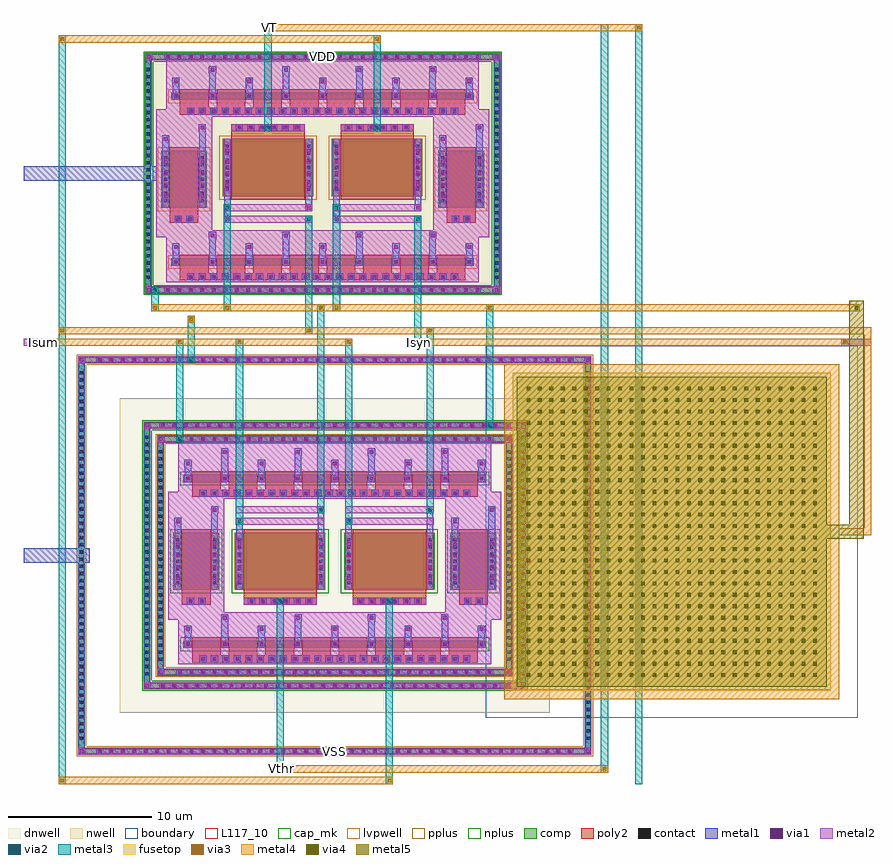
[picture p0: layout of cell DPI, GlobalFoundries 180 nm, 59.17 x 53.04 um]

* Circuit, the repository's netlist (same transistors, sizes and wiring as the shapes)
* Extracted by KLayout with GF180MCU LVS runset on : 22/11/2026 02:39

.SUBCKT DPI
M$1 VDD VDD VDD VDD pfet_03v3 L=2U W=0.5U AS=0.3P AD=0.14P PS=2.2U PD=1.06U
M$2 VDD VDD VDD VDD pfet_03v3 L=2U W=0.5U AS=0.14P AD=0.14P PS=1.06U PD=1.06U
M$3 VDD VDD VDD VDD pfet_03v3 L=2U W=0.5U AS=0.14P AD=0.14P PS=1.06U PD=1.06U
M$4 VDD VDD VDD VDD pfet_03v3 L=2U W=0.5U AS=0.14P AD=0.14P PS=1.06U PD=1.06U
M$5 VDD VDD VDD VDD pfet_03v3 L=2U W=0.5U AS=0.14P AD=0.14P PS=1.06U PD=1.06U
M$6 VDD VDD VDD VDD pfet_03v3 L=2U W=0.5U AS=0.14P AD=0.14P PS=1.06U PD=1.06U
M$7 VDD VDD VDD VDD pfet_03v3 L=2U W=0.5U AS=0.14P AD=0.14P PS=1.06U PD=1.06U
M$8 VDD VDD VDD VDD pfet_03v3 L=2U W=0.5U AS=0.14P AD=0.3P PS=1.06U PD=2.2U
M$9 VDD \$172 Isyn VDD pfet_03v3 L=5.12U W=4U AS=2.4P AD=2.4P PS=9.2U PD=9.2U
M$10 VDD VDD VDD VDD pfet_03v3 L=2U W=0.5U AS=0.3P AD=0.14P PS=2.2U PD=1.06U
M$11 VDD VDD VDD VDD pfet_03v3 L=2U W=0.5U AS=0.14P AD=0.14P PS=1.06U PD=1.06U
M$12 VDD VDD VDD VDD pfet_03v3 L=2U W=0.5U AS=0.14P AD=0.14P PS=1.06U PD=1.06U
M$13 VDD VDD VDD VDD pfet_03v3 L=2U W=0.5U AS=0.14P AD=0.14P PS=1.06U PD=1.06U
M$14 VDD VDD VDD VDD pfet_03v3 L=2U W=0.5U AS=0.14P AD=0.14P PS=1.06U PD=1.06U
M$15 VDD VDD VDD VDD pfet_03v3 L=2U W=0.5U AS=0.14P AD=0.14P PS=1.06U PD=1.06U
M$16 VDD VDD VDD VDD pfet_03v3 L=2U W=0.5U AS=0.14P AD=0.14P PS=1.06U PD=1.06U
M$17 VDD VDD VDD VDD pfet_03v3 L=2U W=0.5U AS=0.14P AD=0.3P PS=1.06U PD=2.2U
M$18 VDD VDD VDD VDD pfet_03v3 L=2U W=4U AS=2.4P AD=2.4P PS=9.2U PD=9.2U
M$19 VDD VT \$172 VDD pfet_03v3 L=5.12U W=4U AS=2.4P AD=2.4P PS=9.2U PD=9.2U
M$20 VDD VDD VDD VDD pfet_03v3 L=2U W=4U AS=2.4P AD=2.4P PS=9.2U PD=9.2U
M$21 Isum Isum Isum Isum nfet_03v3 L=2U W=4U AS=2.4P AD=2.4P PS=9.2U PD=9.2U
M$22 \$172 \$172 Isum Isum nfet_03v3 L=5.12U W=4U AS=2.4P AD=2.4P PS=9.2U
+ PD=9.2U
M$23 Isum Isum Isum Isum nfet_03v3 L=2U W=0.5U AS=0.3P AD=0.14P PS=2.2U PD=1.06U
M$24 Isum Isum Isum Isum nfet_03v3 L=2U W=0.5U AS=0.14P AD=0.14P PS=1.06U
+ PD=1.06U
M$25 Isum Isum Isum Isum nfet_03v3 L=2U W=0.5U AS=0.14P AD=0.14P PS=1.06U
+ PD=1.06U
M$26 Isum Isum Isum Isum nfet_03v3 L=2U W=0.5U AS=0.14P AD=0.14P PS=1.06U
+ PD=1.06U
M$27 Isum Isum Isum Isum nfet_03v3 L=2U W=0.5U AS=0.14P AD=0.14P PS=1.06U
+ PD=1.06U
M$28 Isum Isum Isum Isum nfet_03v3 L=2U W=0.5U AS=0.14P AD=0.14P PS=1.06U
+ PD=1.06U
M$29 Isum Isum Isum Isum nfet_03v3 L=2U W=0.5U AS=0.14P AD=0.14P PS=1.06U
+ PD=1.06U
M$30 Isum Isum Isum Isum nfet_03v3 L=2U W=0.5U AS=0.14P AD=0.3P PS=1.06U PD=2.2U
M$31 Isum Isum Isum Isum nfet_03v3 L=2U W=0.5U AS=0.3P AD=0.14P PS=2.2U PD=1.06U
M$32 Isum Isum Isum Isum nfet_03v3 L=2U W=0.5U AS=0.14P AD=0.14P PS=1.06U
+ PD=1.06U
M$33 Isum Isum Isum Isum nfet_03v3 L=2U W=0.5U AS=0.14P AD=0.14P PS=1.06U
+ PD=1.06U
M$34 Isum Isum Isum Isum nfet_03v3 L=2U W=0.5U AS=0.14P AD=0.14P PS=1.06U
+ PD=1.06U
M$35 Isum Isum Isum Isum nfet_03v3 L=2U W=0.5U AS=0.14P AD=0.14P PS=1.06U
+ PD=1.06U
M$36 Isum Isum Isum Isum nfet_03v3 L=2U W=0.5U AS=0.14P AD=0.14P PS=1.06U
+ PD=1.06U
M$37 Isum Isum Isum Isum nfet_03v3 L=2U W=0.5U AS=0.14P AD=0.14P PS=1.06U
+ PD=1.06U
M$38 Isum Isum Isum Isum nfet_03v3 L=2U W=0.5U AS=0.14P AD=0.3P PS=1.06U PD=2.2U
M$39 VDD Vthr Isum Isum nfet_03v3 L=5.12U W=4U AS=2.4P AD=2.4P PS=9.2U PD=9.2U
M$40 Isum Isum Isum Isum nfet_03v3 L=2U W=4U AS=2.4P AD=2.4P PS=9.2U PD=9.2U
C$41 \$172 VDD 9.839048e-13 cap_mim_2f0fF A=491.9524P P=88.72U
.ENDS DPI

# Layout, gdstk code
import gdstk
lib = gdstk.Library(unit=1e-6, precision=5e-09)
def R(c, l, rs):  # rectangles x0, y0, x1, y1
    for r in rs: c.add(gdstk.rectangle(r[:2], r[2:], *l))
def A(c, l, x, y, w, h, nx, ny, dx, dy):  # array of equal rectangles
    R(c, l, [(x+i*dx, y+j*dy, x+i*dx+w, y+j*dy+h) for i in range(nx) for j in range(ny)])
def P(c, l, *ps):  # polygons
    for p in ps: c.add(gdstk.Polygon(p, *l))
boundary = (0, 0)
dnwell = (12, 0)
nwell = (21, 0)
comp = (22, 0)
poly2 = (30, 0)
pplus = (31, 0)
nplus = (32, 0)
contact = (33, 0)
metal1 = (34, 0)
via1 = (35, 0)
metal2 = (36, 0)
via2 = (38, 0)
via3 = (40, 0)
via4 = (41, 0)
metal3 = (42, 0)
metal4 = (46, 0)
fusetop = (75, 0)
metal5 = (81, 0)
cap_mk = (117, 5)
L117_10 = (117, 10)
lvpwell = (204, 0)

dpi = lib.new_cell('DPI')
R(dpi, boundary, [(17.84,-11.335,43.82,14.645)])
R(dpi, dnwell, [(-7.68,-10.975,22.32,10.975)])
R(dpi, nwell, [(-5.99,18.235,18.93,35.105), (-4.44,19.075,17.38,22.705), (-5.15,23.105,-1.25,30.235), (-0.85,23.105,6.17,30.235), (6.77,23.105,13.79,30.235), (14.19,23.105,18.09,30.235), (-4.44,30.635,17.38,34.265)])
A(dpi, comp, -9.26, -13.835, 0.36, 0.36, 42, 2, 0.8, 27.31)
A(dpi, comp, -10.54, -12.93, 0.36, 0.36, 1, 52, 0, 0.5)
A(dpi, comp, 24.82, -12.93, 0.36, 0.36, 1, 52, 0, 0.5)
A(dpi, comp, -4.86, -9.265, 0.36, 0.36, 31, 2, 0.8, 18.17)
A(dpi, comp, -5.975, -8.43, 0.36, 0.36, 1, 34, 0, 0.5)
A(dpi, comp, 20.255, -8.43, 0.36, 0.36, 1, 34, 0, 0.5)
A(dpi, comp, -3.66, -8.315, 0.36, 0.36, 28, 2, 0.8, 16.27)
A(dpi, comp, -5.02, -7.43, 0.36, 0.36, 1, 30, 0, 0.5)
A(dpi, comp, 19.3, -7.43, 0.36, 0.36, 1, 30, 0, 0.5)
A(dpi, comp, -4.51, 18.355, 0.36, 0.36, 28, 2, 0.8, 16.27)
A(dpi, comp, -5.87, 19.24, 0.36, 0.36, 1, 30, 0, 0.5)
A(dpi, comp, 18.45, 19.24, 0.36, 0.36, 1, 30, 0, 0.5)
R(dpi, comp, [(-9.26,-13.835,23.9,-13.475), (-10.54,-12.93,-10.18,12.93), (24.82,-12.93,25.18,12.93), (-4.86,-9.265,19.5,-8.905), (-5.975,-8.43,-5.615,8.43), (20.255,-8.43,20.615,8.43), (-3.66,-8.315,18.3,-7.955), (-5.02,-7.43,-4.66,7.43), (19.3,-7.43,19.66,7.43), (-3.24,-6.435,17.88,-5.935), (-3.95,-2.405,-0.75,1.595), (0.35,-2.405,6.67,1.595), (7.97,-2.405,14.29,1.595), (15.39,-2.405,18.59,1.595), (-3.24,5.125,17.88,5.625), (-3.66,7.955,18.3,8.315), (-4.86,8.905,19.5,9.265), (-9.26,13.475,23.9,13.835), (-4.51,18.355,17.45,18.715), (-5.87,19.24,-5.51,34.1), (18.45,19.24,18.81,34.1), (-4.09,20.235,17.03,20.735), (-4.8,24.265,-1.6,28.265), (14.54,24.265,17.74,28.265), (-0.5,25.075,5.82,29.075), (7.12,25.075,13.44,29.075), (-4.09,31.795,17.03,32.295), (-4.51,34.625,17.45,34.985)])
P(dpi, comp, [(18.81,34.985),(-5.87,34.985),(-5.87,18.715),(-5.51,18.715),(-5.51,34.625),(18.45,34.625),(18.45,18.715),(-5.51,18.715),(-5.87,18.715),(-5.87,18.355),(18.81,18.355)],
  [(19.66,8.315),(-5.02,8.315),(-5.02,-7.955),(-4.66,-7.955),(-4.66,7.955),(19.3,7.955),(19.3,-7.955),(-4.66,-7.955),(-5.02,-7.955),(-5.02,-8.315),(19.66,-8.315)],
  [(20.615,9.265),(-5.975,9.265),(-5.975,-8.905),(-5.615,-8.905),(-5.615,8.905),(20.255,8.905),(20.255,-8.905),(-5.615,-8.905),(-5.975,-8.905),(-5.975,-9.265),(20.615,-9.265)],
  [(25.18,13.835),(-10.54,13.835),(-10.54,-13.475),(-10.18,-13.475),(-10.18,13.475),(24.82,13.475),(24.82,-13.475),(-10.18,-13.475),(-10.54,-13.475),(-10.54,-13.835),(25.18,-13.835)])
A(dpi, poly2, -2.06, -7.405, 0.36, 0.36, 24, 2, 0.8, 11.56)
A(dpi, poly2, -2.64, -6.975, 2, 0.3, 8, 2, 2.56, 11.56)
A(dpi, poly2, -2.64, -6.675, 2, 0.98, 8, 2, 2.56, 11.56)
A(dpi, poly2, 1.33, -3.375, 0.36, 0.36, 6, 1, 0.8, 0)
A(dpi, poly2, 8.95, -3.375, 0.36, 0.36, 6, 1, 0.8, 0)
A(dpi, poly2, -2.91, 19.265, 0.36, 0.36, 24, 2, 0.8, 11.56)
A(dpi, poly2, -3.49, 19.695, 2, 0.3, 8, 2, 2.56, 11.56)
A(dpi, poly2, -3.49, 19.995, 2, 0.98, 8, 2, 2.56, 11.56)
A(dpi, poly2, 0.48, 29.685, 0.36, 0.36, 6, 1, 0.8, 0)
A(dpi, poly2, 8.1, 29.685, 0.36, 0.36, 6, 1, 0.8, 0)
R(dpi, poly2, [(-2.64,-7.475,17.28,-6.975), (-3.35,-3.445,-1.35,-2.945), (0.95,-3.445,6.07,-2.945), (8.57,-3.445,13.69,-2.945), (15.99,-3.445,17.99,-2.945), (-2.93,-3.375,-2.57,-3.015), (-2.13,-3.375,-1.77,-3.015), (16.41,-3.375,16.77,-3.015), (17.21,-3.375,17.57,-3.015), (-3.35,-2.945,-1.35,-2.645), (0.95,-2.945,6.07,-2.645), (8.57,-2.945,13.69,-2.645), (15.99,-2.945,17.99,-2.645), (-3.35,-2.645,-1.35,1.835), (0.95,-2.645,6.07,1.835), (8.57,-2.645,13.69,1.835), (15.99,-2.645,17.99,1.835), (-2.64,4.085,17.28,4.585), (-3.49,19.195,16.43,19.695), (-4.2,23.225,-2.2,23.725), (15.14,23.225,17.14,23.725), (-3.78,23.295,-3.42,23.655), (-2.98,23.295,-2.62,23.655), (15.56,23.295,15.92,23.655), (16.36,23.295,16.72,23.655), (-4.2,23.725,-2.2,24.025), (15.14,23.725,17.14,24.025), (-4.2,24.025,-2.2,28.505), (15.14,24.025,17.14,28.505), (0.1,24.835,5.22,29.315), (7.72,24.835,12.84,29.315), (0.1,29.315,5.22,29.615), (7.72,29.315,12.84,29.615), (0.1,29.615,5.22,30.115), (7.72,29.615,12.84,30.115), (-3.49,30.755,16.43,31.255)])
R(dpi, pplus, [(-4.32,20.005,17.26,20.965), (-5.03,24.035,-1.37,28.495), (14.31,24.035,17.97,28.495), (-0.73,24.845,6.05,29.305), (6.89,24.845,13.67,29.305), (-4.32,31.565,17.26,32.525)])
P(dpi, pplus, [(19.82,8.475),(-5.18,8.475),(-5.18,-7.795),(-4.5,-7.795),(-4.5,7.795),(19.14,7.795),(19.14,-7.795),(-4.5,-7.795),(-5.18,-7.795),(-5.18,-8.475),(19.82,-8.475)],
  [(25.34,13.995),(-10.7,13.995),(-10.7,-13.315),(-10.02,-13.315),(-10.02,13.315),(24.66,13.315),(24.66,-13.315),(-10.02,-13.315),(-10.7,-13.315),(-10.7,-13.995),(25.34,-13.995)])
R(dpi, nplus, [(-3.47,-6.665,18.11,-5.705), (-4.18,-2.635,-0.52,1.825), (0.12,-2.635,6.9,1.825), (7.74,-2.635,14.52,1.825), (15.16,-2.635,18.82,1.825), (-3.47,4.895,18.11,5.855)])
P(dpi, nplus, [(18.97,35.145),(-6.03,35.145),(-6.03,18.875),(-5.35,18.875),(-5.35,34.465),(18.29,34.465),(18.29,18.875),(-5.35,18.875),(-6.03,18.875),(-6.03,18.195),(18.97,18.195)],
  [(20.775,9.425),(-6.135,9.425),(-6.135,-8.745),(-5.455,-8.745),(-5.455,8.745),(20.095,8.745),(20.095,-8.745),(-5.455,-8.745),(-6.135,-8.745),(-6.135,-9.425),(20.775,-9.425)])
A(dpi, contact, -9.19, -13.765, 0.22, 0.22, 42, 2, 0.8, 27.31)
A(dpi, contact, -10.47, -12.86, 0.22, 0.22, 1, 52, 0, 0.5)
A(dpi, contact, 24.89, -12.86, 0.22, 0.22, 1, 52, 0, 0.5)
A(dpi, contact, -4.79, -9.195, 0.22, 0.22, 31, 2, 0.8, 18.17)
A(dpi, contact, -5.905, -8.36, 0.22, 0.22, 1, 34, 0, 0.5)
A(dpi, contact, 20.325, -8.36, 0.22, 0.22, 1, 34, 0, 0.5)
A(dpi, contact, -3.59, -8.245, 0.22, 0.22, 28, 2, 0.8, 16.27)
A(dpi, contact, -4.95, -7.36, 0.22, 0.22, 1, 30, 0, 0.5)
A(dpi, contact, 19.37, -7.36, 0.22, 0.22, 1, 30, 0, 0.5)
A(dpi, contact, -1.99, -7.335, 0.22, 0.22, 24, 2, 0.8, 11.56)
A(dpi, contact, -3.03, -6.295, 0.22, 0.22, 9, 2, 2.56, 11.56)
A(dpi, contact, 1.4, -3.305, 0.22, 0.22, 6, 1, 0.8, 0)
A(dpi, contact, 9.02, -3.305, 0.22, 0.22, 6, 1, 0.8, 0)
A(dpi, contact, -3.74, -2.015, 0.22, 0.22, 1, 7, 0, 0.5)
A(dpi, contact, -1.18, -2.015, 0.22, 0.22, 1, 7, 0, 0.5)
A(dpi, contact, 0.56, -2.015, 0.22, 0.22, 1, 7, 0, 0.5)
A(dpi, contact, 6.24, -2.015, 0.22, 0.22, 1, 7, 0, 0.5)
A(dpi, contact, 8.18, -2.015, 0.22, 0.22, 1, 7, 0, 0.5)
A(dpi, contact, 13.86, -2.015, 0.22, 0.22, 1, 7, 0, 0.5)
A(dpi, contact, 15.6, -2.015, 0.22, 0.22, 1, 7, 0, 0.5)
A(dpi, contact, 18.16, -2.015, 0.22, 0.22, 1, 7, 0, 0.5)
A(dpi, contact, -4.44, 18.425, 0.22, 0.22, 28, 2, 0.8, 16.27)
A(dpi, contact, -5.8, 19.31, 0.22, 0.22, 1, 30, 0, 0.5)
A(dpi, contact, 18.52, 19.31, 0.22, 0.22, 1, 30, 0, 0.5)
A(dpi, contact, -2.84, 19.335, 0.22, 0.22, 24, 2, 0.8, 11.56)
A(dpi, contact, -3.88, 20.375, 0.22, 0.22, 9, 2, 2.56, 11.56)
A(dpi, contact, -4.59, 24.655, 0.22, 0.22, 1, 7, 0, 0.5)
A(dpi, contact, -2.03, 24.655, 0.22, 0.22, 1, 7, 0, 0.5)
A(dpi, contact, 14.75, 24.655, 0.22, 0.22, 1, 7, 0, 0.5)
A(dpi, contact, 17.31, 24.655, 0.22, 0.22, 1, 7, 0, 0.5)
A(dpi, contact, -0.29, 25.465, 0.22, 0.22, 1, 7, 0, 0.5)
A(dpi, contact, 5.39, 25.465, 0.22, 0.22, 1, 7, 0, 0.5)
A(dpi, contact, 7.33, 25.465, 0.22, 0.22, 1, 7, 0, 0.5)
A(dpi, contact, 13.01, 25.465, 0.22, 0.22, 1, 7, 0, 0.5)
A(dpi, contact, 0.55, 29.755, 0.22, 0.22, 6, 1, 0.8, 0)
A(dpi, contact, 8.17, 29.755, 0.22, 0.22, 6, 1, 0.8, 0)
R(dpi, contact, [(-2.86,-3.305,-2.64,-3.085), (-2.06,-3.305,-1.84,-3.085), (16.48,-3.305,16.7,-3.085), (17.28,-3.305,17.5,-3.085), (-3.71,23.365,-3.49,23.585), (-2.91,23.365,-2.69,23.585), (15.63,23.365,15.85,23.585), (16.43,23.365,16.65,23.585)])
A(dpi, metal1, -9.33, -13.905, 0.5, 0.5, 42, 2, 0.8, 27.31)
A(dpi, metal1, -10.59, -12.98, 0.46, 0.46, 1, 52, 0, 0.5)
A(dpi, metal1, 24.77, -12.98, 0.46, 0.46, 1, 52, 0, 0.5)
A(dpi, metal1, -4.93, -9.335, 0.5, 0.5, 31, 2, 0.8, 18.17)
A(dpi, metal1, -6.025, -8.48, 0.46, 0.46, 1, 34, 0, 0.5)
A(dpi, metal1, 20.205, -8.48, 0.46, 0.46, 1, 34, 0, 0.5)
A(dpi, metal1, -3.73, -8.385, 0.5, 0.5, 28, 2, 0.8, 16.27)
A(dpi, metal1, -5.07, -7.48, 0.46, 0.46, 1, 30, 0, 0.5)
A(dpi, metal1, 19.25, -7.48, 0.46, 0.46, 1, 30, 0, 0.5)
A(dpi, metal1, -2.13, -7.475, 0.5, 0.5, 24, 2, 0.8, 11.56)
A(dpi, metal1, -3.15, -6.435, 0.46, 0.5, 9, 2, 2.56, 11.56)
A(dpi, metal1, -3.15, -6.415, 0.46, 0.46, 9, 2, 2.56, 11.56)
A(dpi, metal1, -3.15, -5.935, 0.46, 1.05, 5, 2, 5.12, 11.56)
A(dpi, metal1, -0.59, -5.935, 0.46, 1.85, 4, 2, 5.12, 11.56)
A(dpi, metal1, -3.17, -5.385, 0.5, 0.5, 5, 2, 5.12, 11.56)
A(dpi, metal1, -0.61, -4.585, 0.5, 0.5, 4, 2, 5.12, 11.56)
A(dpi, metal1, 1.26, -3.445, 0.5, 0.5, 6, 1, 0.8, 0)
A(dpi, metal1, 8.88, -3.445, 0.5, 0.5, 6, 1, 0.8, 0)
A(dpi, metal1, -3.86, -2.135, 0.46, 0.46, 1, 7, 0, 0.5)
A(dpi, metal1, -1.3, -2.135, 0.46, 0.46, 1, 7, 0, 0.5)
A(dpi, metal1, 0.44, -2.135, 0.46, 0.46, 1, 7, 0, 0.5)
A(dpi, metal1, 6.12, -2.135, 0.46, 0.46, 1, 7, 0, 0.5)
A(dpi, metal1, 8.06, -2.135, 0.46, 0.46, 1, 7, 0, 0.5)
A(dpi, metal1, 13.74, -2.135, 0.46, 0.46, 1, 7, 0, 0.5)
A(dpi, metal1, 15.48, -2.135, 0.46, 0.46, 1, 7, 0, 0.5)
A(dpi, metal1, 18.04, -2.135, 0.46, 0.46, 1, 7, 0, 0.5)
A(dpi, metal1, -3.88, -1.855, 0.5, 0.5, 1, 4, 0, 0.8)
A(dpi, metal1, -1.32, -1.855, 0.5, 0.5, 1, 4, 0, 0.8)
A(dpi, metal1, 0.42, -1.855, 0.5, 0.5, 1, 4, 0, 0.8)
A(dpi, metal1, 6.1, -1.855, 0.5, 0.5, 1, 4, 0, 0.8)
A(dpi, metal1, 8.04, -1.855, 0.5, 0.5, 1, 4, 0, 0.8)
A(dpi, metal1, 13.72, -1.855, 0.5, 0.5, 1, 4, 0, 0.8)
A(dpi, metal1, 15.46, -1.855, 0.5, 0.5, 1, 4, 0, 0.8)
A(dpi, metal1, 18.02, -1.855, 0.5, 0.5, 1, 4, 0, 0.8)
A(dpi, metal1, -4.58, 18.285, 0.5, 0.5, 28, 2, 0.8, 16.27)
A(dpi, metal1, -5.92, 19.19, 0.46, 0.46, 1, 30, 0, 0.5)
A(dpi, metal1, 18.4, 19.19, 0.46, 0.46, 1, 30, 0, 0.5)
A(dpi, metal1, -2.98, 19.195, 0.5, 0.5, 24, 2, 0.8, 11.56)
A(dpi, metal1, -4, 20.235, 0.46, 0.5, 9, 2, 2.56, 11.56)
A(dpi, metal1, -4, 20.255, 0.46, 0.46, 9, 2, 2.56, 11.56)
A(dpi, metal1, -4, 20.735, 0.46, 1.05, 5, 2, 5.12, 11.56)
A(dpi, metal1, -1.44, 20.735, 0.46, 1.85, 4, 2, 5.12, 11.56)
A(dpi, metal1, -4.02, 21.285, 0.5, 0.5, 5, 2, 5.12, 11.56)
A(dpi, metal1, -1.46, 22.085, 0.5, 0.5, 4, 2, 5.12, 11.56)
A(dpi, metal1, -4.71, 24.535, 0.46, 0.46, 1, 7, 0, 0.5)
A(dpi, metal1, -2.15, 24.535, 0.46, 0.46, 1, 7, 0, 0.5)
A(dpi, metal1, 14.63, 24.535, 0.46, 0.46, 1, 7, 0, 0.5)
A(dpi, metal1, 17.19, 24.535, 0.46, 0.46, 1, 7, 0, 0.5)
A(dpi, metal1, -4.73, 24.815, 0.5, 0.5, 1, 4, 0, 0.8)
A(dpi, metal1, -2.17, 24.815, 0.5, 0.5, 1, 4, 0, 0.8)
A(dpi, metal1, 14.61, 24.815, 0.5, 0.5, 1, 4, 0, 0.8)
A(dpi, metal1, 17.17, 24.815, 0.5, 0.5, 1, 4, 0, 0.8)
A(dpi, metal1, -0.41, 25.345, 0.46, 0.46, 1, 7, 0, 0.5)
A(dpi, metal1, 5.27, 25.345, 0.46, 0.46, 1, 7, 0, 0.5)
A(dpi, metal1, 7.21, 25.345, 0.46, 0.46, 1, 7, 0, 0.5)
A(dpi, metal1, 12.89, 25.345, 0.46, 0.46, 1, 7, 0, 0.5)
A(dpi, metal1, -0.43, 25.625, 0.5, 0.5, 1, 4, 0, 0.8)
A(dpi, metal1, 5.25, 25.625, 0.5, 0.5, 1, 4, 0, 0.8)
A(dpi, metal1, 7.19, 25.625, 0.5, 0.5, 1, 4, 0, 0.8)
A(dpi, metal1, 12.87, 25.625, 0.5, 0.5, 1, 4, 0, 0.8)
A(dpi, metal1, 0.41, 29.615, 0.5, 0.5, 6, 1, 0.8, 0)
A(dpi, metal1, 8.03, 29.615, 0.5, 0.5, 6, 1, 0.8, 0)
R(dpi, metal1, [(-10.59,-13.905,-10.09,-13.405), (-10.59,-13.905,-10.09,-13.405), (-10.59,-13.905,-10.13,-13.475), (-9.33,-13.905,23.97,-13.405), (24.73,-13.905,25.23,-13.405), (24.73,-13.905,25.23,-13.405), (24.77,-13.905,25.23,-13.475), (-10.59,-13.475,-10.13,13.475), (24.77,-13.475,25.23,13.475), (-6.025,-9.335,-5.525,-8.835), (-6.025,-9.335,-5.525,-8.835), (-6.025,-9.335,-5.565,-8.905), (-4.93,-9.335,19.57,-8.835), (20.165,-9.335,20.665,-8.835), (20.165,-9.335,20.665,-8.835), (20.205,-9.335,20.665,-8.905), (-6.025,-8.905,-5.565,8.905), (20.205,-8.905,20.665,8.905), (-5.07,-8.385,-4.57,-7.885), (-5.07,-8.385,-4.57,-7.885), (-5.07,-8.385,-4.61,-7.955), (-3.73,-8.385,18.37,-7.885), (19.21,-8.385,19.71,-7.885), (19.21,-8.385,19.71,-7.885), (19.25,-8.385,19.71,-7.955), (-5.07,-7.955,-4.61,7.955), (19.25,-7.955,19.71,7.955), (-3.17,-6.435,-2.67,-5.935), (-3.17,-6.435,-2.67,-5.935), (-0.61,-6.435,-0.11,-5.935), (-0.61,-6.435,-0.11,-5.935), (1.95,-6.435,2.45,-5.935), (1.95,-6.435,2.45,-5.935), (4.51,-6.435,5.01,-5.935), (4.51,-6.435,5.01,-5.935), (7.07,-6.435,7.57,-5.935), (7.07,-6.435,7.57,-5.935), (9.63,-6.435,10.13,-5.935), (9.63,-6.435,10.13,-5.935), (12.19,-6.435,12.69,-5.935), (12.19,-6.435,12.69,-5.935), (14.75,-6.435,15.25,-5.935), (14.75,-6.435,15.25,-5.935), (17.31,-6.435,17.81,-5.935), (17.31,-6.435,17.81,-5.935), (-3,-3.445,-2.5,-2.945), (-2.2,-3.445,-1.7,-2.945), (16.34,-3.445,16.84,-2.945), (17.14,-3.445,17.64,-2.945), (-3.86,-2.405,-3.4,1.595), (-1.3,-2.405,-0.84,1.595), (0.44,-2.405,0.9,1.595), (6.12,-2.405,6.58,1.595), (8.06,-2.405,8.52,1.595), (13.74,-2.405,14.2,1.595), (15.48,-2.405,15.94,1.595), (18.04,-2.405,18.5,1.595), (-3.88,-1.855,-3.38,1.045), (-1.32,-1.855,-0.82,1.045), (0.42,-1.855,0.92,1.045), (6.1,-1.855,6.6,1.045), (8.04,-1.855,8.54,1.045), (13.72,-1.855,14.22,1.045), (15.46,-1.855,15.96,1.045), (18.02,-1.855,18.52,1.045), (-14.4,-0.5,-9.79,0.5), (-3.86,1.595,-3.4,2.645), (-1.3,1.595,-0.84,3.445), (0.44,1.595,0.9,2.645), (6.12,1.595,6.58,3.445), (8.06,1.595,8.52,2.645), (13.74,1.595,14.2,3.445), (15.48,1.595,15.94,2.645), (18.04,1.595,18.5,3.445), (-3.88,2.145,-3.38,2.645), (0.42,2.145,0.92,2.645), (8.04,2.145,8.54,2.645), (15.46,2.145,15.96,2.645), (-1.32,2.945,-0.82,3.445), (6.1,2.945,6.6,3.445), (13.72,2.945,14.22,3.445), (18.02,2.945,18.52,3.445), (-3.17,5.125,-2.67,5.625), (-3.17,5.125,-2.67,5.625), (-0.61,5.125,-0.11,5.625), (-0.61,5.125,-0.11,5.625), (1.95,5.125,2.45,5.625), (1.95,5.125,2.45,5.625), (4.51,5.125,5.01,5.625), (4.51,5.125,5.01,5.625), (7.07,5.125,7.57,5.625), (7.07,5.125,7.57,5.625), (9.63,5.125,10.13,5.625), (9.63,5.125,10.13,5.625), (12.19,5.125,12.69,5.625), (12.19,5.125,12.69,5.625), (14.75,5.125,15.25,5.625), (14.75,5.125,15.25,5.625), (17.31,5.125,17.81,5.625), (17.31,5.125,17.81,5.625), (-5.07,7.885,-4.57,8.385), (-5.07,7.885,-4.57,8.385), (-3.73,7.885,18.37,8.385), (19.21,7.885,19.71,8.385), (19.21,7.885,19.71,8.385), (-5.07,7.955,-4.61,8.385), (19.25,7.955,19.71,8.385), (-6.025,8.835,-5.525,9.335), (-6.025,8.835,-5.525,9.335), (-4.93,8.835,19.57,9.335), (20.165,8.835,20.665,9.335), (20.165,8.835,20.665,9.335), (-6.025,8.905,-5.565,9.335), (20.205,8.905,20.665,9.335), (-10.59,13.405,-10.09,13.905), (-10.59,13.405,-10.09,13.905), (-9.33,13.405,23.97,13.905), (24.73,13.405,25.23,13.905), (24.73,13.405,25.23,13.905), (-10.59,13.475,-10.13,13.905), (24.77,13.475,25.23,13.905), (-5.92,18.285,-5.42,18.785), (-5.92,18.285,-5.42,18.785), (-5.92,18.285,-5.46,18.715), (-4.58,18.285,17.52,18.785), (18.36,18.285,18.86,18.785), (18.36,18.285,18.86,18.785), (18.4,18.285,18.86,18.715), (-5.92,18.715,-5.46,34.625), (18.4,18.715,18.86,34.625), (-4.02,20.235,-3.52,20.735), (-4.02,20.235,-3.52,20.735), (-1.46,20.235,-0.96,20.735), (-1.46,20.235,-0.96,20.735), (1.1,20.235,1.6,20.735), (1.1,20.235,1.6,20.735), (3.66,20.235,4.16,20.735), (3.66,20.235,4.16,20.735), (6.22,20.235,6.72,20.735), (6.22,20.235,6.72,20.735), (8.78,20.235,9.28,20.735), (8.78,20.235,9.28,20.735), (11.34,20.235,11.84,20.735), (11.34,20.235,11.84,20.735), (13.9,20.235,14.4,20.735), (13.9,20.235,14.4,20.735), (16.46,20.235,16.96,20.735), (16.46,20.235,16.96,20.735), (-3.85,23.225,-3.35,23.725), (-3.05,23.225,-2.55,23.725), (-0.43,23.225,0.07,23.725), (-0.41,23.225,0.05,25.075), (7.19,23.225,7.69,23.725), (7.21,23.225,7.67,25.075), (15.49,23.225,15.99,23.725), (16.29,23.225,16.79,23.725), (5.25,24.025,5.75,24.525), (5.27,24.025,5.73,25.075), (12.87,24.025,13.37,24.525), (12.89,24.025,13.35,25.075), (-4.71,24.265,-4.25,28.265), (-2.15,24.265,-1.69,28.265), (14.63,24.265,15.09,28.265), (17.19,24.265,17.65,28.265), (-4.73,24.815,-4.23,27.715), (-2.17,24.815,-1.67,27.715), (14.61,24.815,15.11,27.715), (17.17,24.815,17.67,27.715), (-0.41,25.075,0.05,29.075), (5.27,25.075,5.73,29.075), (7.21,25.075,7.67,29.075), (12.89,25.075,13.35,29.075), (-0.43,25.625,0.07,28.525), (5.25,25.625,5.75,28.525), (7.19,25.625,7.69,28.525), (12.87,25.625,13.37,28.525), (-14.4,26.17,-5.12,27.17), (-4.71,28.265,-4.25,29.315), (-2.15,28.265,-1.69,30.115), (14.63,28.265,15.09,29.315), (17.19,28.265,17.65,30.115), (-4.73,28.815,-4.23,29.315), (14.61,28.815,15.11,29.315), (-2.17,29.615,-1.67,30.115), (17.17,29.615,17.67,30.115), (-4.02,31.795,-3.52,32.295), (-4.02,31.795,-3.52,32.295), (-1.46,31.795,-0.96,32.295), (-1.46,31.795,-0.96,32.295), (1.1,31.795,1.6,32.295), (1.1,31.795,1.6,32.295), (3.66,31.795,4.16,32.295), (3.66,31.795,4.16,32.295), (6.22,31.795,6.72,32.295), (6.22,31.795,6.72,32.295), (8.78,31.795,9.28,32.295), (8.78,31.795,9.28,32.295), (11.34,31.795,11.84,32.295), (11.34,31.795,11.84,32.295), (13.9,31.795,14.4,32.295), (13.9,31.795,14.4,32.295), (16.46,31.795,16.96,32.295), (16.46,31.795,16.96,32.295), (-5.92,34.555,-5.42,35.055), (-5.92,34.555,-5.42,35.055), (-4.58,34.555,17.52,35.055), (18.36,34.555,18.86,35.055), (18.36,34.555,18.86,35.055), (-5.92,34.625,-5.46,35.055), (18.4,34.625,18.86,35.055)])
A(dpi, via1, -9.21, -13.785, 0.26, 0.26, 42, 2, 0.8, 27.31)
A(dpi, via1, -4.81, -9.215, 0.26, 0.26, 31, 2, 0.8, 18.17)
A(dpi, via1, -3.61, -8.265, 0.26, 0.26, 28, 2, 0.8, 16.27)
A(dpi, via1, -2.01, -7.355, 0.26, 0.26, 24, 2, 0.8, 11.56)
A(dpi, via1, -3.05, -6.315, 0.26, 0.26, 9, 2, 2.56, 11.56)
A(dpi, via1, -3.05, -5.265, 0.26, 0.26, 5, 2, 5.12, 11.56)
A(dpi, via1, -0.49, -4.465, 0.26, 0.26, 4, 2, 5.12, 11.56)
A(dpi, via1, 1.38, -3.325, 0.26, 0.26, 6, 1, 0.8, 0)
A(dpi, via1, 9, -3.325, 0.26, 0.26, 6, 1, 0.8, 0)
A(dpi, via1, -3.76, -1.735, 0.26, 0.26, 1, 4, 0, 0.8)
A(dpi, via1, -1.2, -1.735, 0.26, 0.26, 1, 4, 0, 0.8)
A(dpi, via1, 0.54, -1.735, 0.26, 0.26, 1, 4, 0, 0.8)
A(dpi, via1, 6.22, -1.735, 0.26, 0.26, 1, 4, 0, 0.8)
A(dpi, via1, 8.16, -1.735, 0.26, 0.26, 1, 4, 0, 0.8)
A(dpi, via1, 13.84, -1.735, 0.26, 0.26, 1, 4, 0, 0.8)
A(dpi, via1, 15.58, -1.735, 0.26, 0.26, 1, 4, 0, 0.8)
A(dpi, via1, 18.14, -1.735, 0.26, 0.26, 1, 4, 0, 0.8)
A(dpi, via1, -4.46, 18.405, 0.26, 0.26, 28, 2, 0.8, 16.27)
A(dpi, via1, -2.86, 19.315, 0.26, 0.26, 24, 2, 0.8, 11.56)
A(dpi, via1, -3.9, 20.355, 0.26, 0.26, 9, 2, 2.56, 11.56)
A(dpi, via1, -3.9, 21.405, 0.26, 0.26, 5, 2, 5.12, 11.56)
A(dpi, via1, -1.34, 22.205, 0.26, 0.26, 4, 2, 5.12, 11.56)
A(dpi, via1, -4.61, 24.935, 0.26, 0.26, 1, 4, 0, 0.8)
A(dpi, via1, -2.05, 24.935, 0.26, 0.26, 1, 4, 0, 0.8)
A(dpi, via1, 14.73, 24.935, 0.26, 0.26, 1, 4, 0, 0.8)
A(dpi, via1, 17.29, 24.935, 0.26, 0.26, 1, 4, 0, 0.8)
A(dpi, via1, -0.31, 25.745, 0.26, 0.26, 1, 4, 0, 0.8)
A(dpi, via1, 5.37, 25.745, 0.26, 0.26, 1, 4, 0, 0.8)
A(dpi, via1, 7.31, 25.745, 0.26, 0.26, 1, 4, 0, 0.8)
A(dpi, via1, 12.99, 25.745, 0.26, 0.26, 1, 4, 0, 0.8)
A(dpi, via1, 0.53, 29.735, 0.26, 0.26, 6, 1, 0.8, 0)
A(dpi, via1, 8.15, 29.735, 0.26, 0.26, 6, 1, 0.8, 0)
R(dpi, via1, [(-10.47,-13.785,-10.21,-13.525), (24.85,-13.785,25.11,-13.525), (-5.905,-9.215,-5.645,-8.955), (20.285,-9.215,20.545,-8.955), (-4.95,-8.265,-4.69,-8.005), (19.33,-8.265,19.59,-8.005), (-2.88,-3.325,-2.62,-3.065), (-2.08,-3.325,-1.82,-3.065), (16.46,-3.325,16.72,-3.065), (17.26,-3.325,17.52,-3.065), (-3.76,2.265,-3.5,2.525), (0.54,2.265,0.8,2.525), (8.16,2.265,8.42,2.525), (15.58,2.265,15.84,2.525), (-1.2,3.065,-0.94,3.325), (6.22,3.065,6.48,3.325), (13.84,3.065,14.1,3.325), (18.14,3.065,18.4,3.325), (-4.95,8.005,-4.69,8.265), (19.33,8.005,19.59,8.265), (-5.905,8.955,-5.645,9.215), (20.285,8.955,20.545,9.215), (-10.47,13.525,-10.21,13.785), (24.85,13.525,25.11,13.785), (-5.8,18.405,-5.54,18.665), (18.48,18.405,18.74,18.665), (-3.73,23.345,-3.47,23.605), (-2.93,23.345,-2.67,23.605), (-0.31,23.345,-0.05,23.605), (7.31,23.345,7.57,23.605), (15.61,23.345,15.87,23.605), (16.41,23.345,16.67,23.605), (5.37,24.145,5.63,24.405), (12.99,24.145,13.25,24.405), (-4.61,28.935,-4.35,29.195), (14.73,28.935,14.99,29.195), (-2.05,29.735,-1.79,29.995), (17.29,29.735,17.55,29.995), (-5.8,34.675,-5.54,34.935), (18.48,34.675,18.74,34.935)])
A(dpi, metal2, -9.33, -13.905, 0.5, 0.5, 42, 1, 0.8, 0)
A(dpi, metal2, -4.93, -9.335, 0.5, 0.5, 31, 1, 0.8, 0)
A(dpi, metal2, -3.73, -8.385, 0.5, 0.5, 28, 2, 0.8, 16.27)
A(dpi, metal2, -2.13, -7.475, 0.5, 0.5, 24, 2, 0.8, 11.56)
A(dpi, metal2, -3.17, -5.385, 0.5, 0.5, 5, 2, 5.12, 11.56)
A(dpi, metal2, -0.61, -4.585, 0.5, 0.5, 4, 2, 5.12, 11.56)
A(dpi, metal2, 1.26, -3.445, 0.5, 0.5, 3, 1, 0.8, 0)
A(dpi, metal2, 3.66, -3.445, 0.5, 0.5, 3, 1, 0.8, 0)
A(dpi, metal2, 8.88, -3.445, 0.5, 0.5, 3, 1, 0.8, 0)
A(dpi, metal2, 11.28, -3.445, 0.5, 0.5, 3, 1, 0.8, 0)
A(dpi, metal2, -3.88, -1.855, 0.5, 0.5, 1, 4, 0, 0.8)
A(dpi, metal2, -1.32, -1.855, 0.5, 0.5, 1, 4, 0, 0.8)
A(dpi, metal2, 0.42, -1.855, 0.5, 0.5, 1, 4, 0, 0.8)
A(dpi, metal2, 6.1, -1.855, 0.5, 0.5, 1, 4, 0, 0.8)
A(dpi, metal2, 8.04, -1.855, 0.5, 0.5, 1, 4, 0, 0.8)
A(dpi, metal2, 13.72, -1.855, 0.5, 0.5, 1, 4, 0, 0.8)
A(dpi, metal2, 15.46, -1.855, 0.5, 0.5, 1, 4, 0, 0.8)
A(dpi, metal2, 18.02, -1.855, 0.5, 0.5, 1, 4, 0, 0.8)
A(dpi, metal2, -4.93, 8.835, 0.5, 0.5, 29, 1, 0.8, 0)
A(dpi, metal2, -9.33, 13.405, 0.5, 0.5, 8, 1, 0.8, 0)
A(dpi, metal2, -2.93, 13.405, 0.5, 0.5, 34, 1, 0.8, 0)
A(dpi, metal2, -4.58, 18.285, 0.5, 0.5, 28, 2, 0.8, 16.27)
A(dpi, metal2, -2.98, 19.195, 0.5, 0.5, 24, 2, 0.8, 11.56)
A(dpi, metal2, -4.02, 21.285, 0.5, 0.5, 5, 2, 5.12, 11.56)
A(dpi, metal2, -1.46, 22.085, 0.5, 0.5, 4, 2, 5.12, 11.56)
A(dpi, metal2, -4.73, 24.815, 0.5, 0.5, 1, 4, 0, 0.8)
A(dpi, metal2, -2.17, 24.815, 0.5, 0.5, 1, 4, 0, 0.8)
A(dpi, metal2, 14.61, 24.815, 0.5, 0.5, 1, 4, 0, 0.8)
A(dpi, metal2, 17.17, 24.815, 0.5, 0.5, 1, 4, 0, 0.8)
A(dpi, metal2, -0.43, 25.625, 0.5, 0.5, 1, 4, 0, 0.8)
A(dpi, metal2, 5.25, 25.625, 0.5, 0.5, 1, 4, 0, 0.8)
A(dpi, metal2, 7.19, 25.625, 0.5, 0.5, 1, 4, 0, 0.8)
A(dpi, metal2, 12.87, 25.625, 0.5, 0.5, 1, 4, 0, 0.8)
A(dpi, metal2, 0.41, 29.615, 0.5, 0.5, 3, 1, 0.8, 0)
A(dpi, metal2, 2.81, 29.615, 0.5, 0.5, 3, 1, 0.8, 0)
A(dpi, metal2, 8.03, 29.615, 0.5, 0.5, 3, 1, 0.8, 0)
A(dpi, metal2, 10.43, 29.615, 0.5, 0.5, 3, 1, 0.8, 0)
R(dpi, metal2, [(-10.59,-13.905,-10.09,-13.405), (-10.59,-13.905,-10.09,-13.405), (-10.59,-13.905,-10.18,-13.405), (-10.18,-13.905,24.82,-13.405), (24.73,-13.905,25.23,-13.405), (24.73,-13.905,25.23,-13.405), (24.82,-13.905,25.23,-13.405), (-6.025,-9.335,-5.525,-8.835), (-6.025,-9.335,-5.525,-8.835), (-6.025,-9.335,-5.615,-8.835), (-5.615,-9.335,20.255,-8.835), (20.165,-9.335,20.665,-8.835), (20.165,-9.335,20.665,-8.835), (20.255,-9.335,20.665,-8.835), (-5.07,-8.385,-4.57,-7.885), (-5.07,-8.385,-4.57,-7.885), (-5.07,-8.385,-4.66,-7.885), (-4.66,-8.385,19.3,-7.885), (19.21,-8.385,19.71,-7.885), (19.21,-8.385,19.71,-7.885), (19.3,-8.385,19.71,-7.885), (-3.59,-7.595,18.23,-3.965), (-2.64,-7.475,17.28,-6.975), (-3.17,-6.435,-2.67,-5.935), (-3.17,-6.435,-2.67,-5.935), (-0.61,-6.435,-0.11,-5.935), (-0.61,-6.435,-0.11,-5.935), (1.95,-6.435,2.45,-5.935), (1.95,-6.435,2.45,-5.935), (4.51,-6.435,5.01,-5.935), (4.51,-6.435,5.01,-5.935), (7.07,-6.435,7.57,-5.935), (7.07,-6.435,7.57,-5.935), (9.63,-6.435,10.13,-5.935), (9.63,-6.435,10.13,-5.935), (12.19,-6.435,12.69,-5.935), (12.19,-6.435,12.69,-5.935), (14.75,-6.435,15.25,-5.935), (14.75,-6.435,15.25,-5.935), (17.31,-6.435,17.81,-5.935), (17.31,-6.435,17.81,-5.935), (-3.17,-5.385,17.81,-4.885), (-3.17,-4.585,17.81,-4.085), (-4.3,-4.465,-0.4,4.465), (15.04,-4.465,18.94,4.465), (-3.35,-3.445,-1.35,-2.945), (-3,-3.445,-2.5,-2.945), (-2.2,-3.445,-1.7,-2.945), (0.95,-3.445,6.07,-2.945), (3.26,-3.445,3.76,-2.945), (8.57,-3.445,13.69,-2.945), (10.88,-3.445,11.38,-2.945), (15.99,-3.445,17.99,-2.945), (16.34,-3.445,16.84,-2.945), (17.14,-3.445,17.64,-2.945), (-3.88,-2.405,-3.38,1.595), (-1.32,-2.405,-0.82,1.595), (0.42,-2.405,0.92,1.595), (6.1,-2.405,6.6,1.595), (8.04,-2.405,8.54,1.595), (13.72,-2.405,14.22,1.595), (15.46,-2.405,15.96,1.595), (18.02,-2.405,18.52,1.595), (-3.88,2.145,-3.38,2.645), (-3.88,2.145,-0.82,2.645), (0.42,2.145,0.92,2.645), (0.42,2.145,0.92,2.645), (0.42,2.145,6.6,2.645), (8.04,2.145,8.54,2.645), (8.04,2.145,8.54,2.645), (8.04,2.145,14.22,2.645), (15.46,2.145,15.96,2.645), (15.46,2.145,18.52,2.645), (-3.88,2.945,-0.82,3.445), (-1.32,2.945,-0.82,3.445), (0.42,2.945,6.6,3.445), (6.1,2.945,6.6,3.445), (6.1,2.945,6.6,3.445), (8.04,2.945,14.22,3.445), (13.72,2.945,14.22,3.445), (13.72,2.945,14.22,3.445), (15.46,2.945,18.52,3.445), (18.02,2.945,18.52,3.445), (-3.59,3.965,18.23,7.595), (-2.64,4.085,17.28,4.585), (-3.17,5.125,-2.67,5.625), (-3.17,5.125,-2.67,5.625), (-0.61,5.125,-0.11,5.625), (-0.61,5.125,-0.11,5.625), (1.95,5.125,2.45,5.625), (1.95,5.125,2.45,5.625), (4.51,5.125,5.01,5.625), (4.51,5.125,5.01,5.625), (7.07,5.125,7.57,5.625), (7.07,5.125,7.57,5.625), (9.63,5.125,10.13,5.625), (9.63,5.125,10.13,5.625), (12.19,5.125,12.69,5.625), (12.19,5.125,12.69,5.625), (14.75,5.125,15.25,5.625), (14.75,5.125,15.25,5.625), (17.31,5.125,17.81,5.625), (17.31,5.125,17.81,5.625), (-3.17,6.175,17.81,6.675), (-3.17,6.975,17.81,7.475), (-3.59,7.595,18.23,7.885), (-5.07,7.885,-4.57,8.385), (-5.07,7.885,-4.57,8.385), (-5.07,7.885,-4.66,8.385), (-4.66,7.885,19.3,8.385), (-3.75,7.885,-3.25,8.385), (19.21,7.885,19.71,8.385), (19.21,7.885,19.71,8.385), (19.3,7.885,19.71,8.385), (-6.025,8.835,-5.525,9.335), (-6.025,8.835,-5.525,9.335), (-6.025,8.835,-5.615,9.335), (-5.615,8.835,20.255,9.335), (17.89,8.835,18.39,9.335), (18.27,8.835,18.77,9.335), (19.07,8.835,19.57,9.335), (20.165,8.835,20.665,9.335), (20.165,8.835,20.665,9.335), (20.255,8.835,20.665,9.335), (-10.59,13.405,-10.09,13.905), (-10.59,13.405,-10.09,13.905), (-10.59,13.405,-10.18,13.905), (-10.18,13.405,24.82,13.905), (-2.95,13.405,-2.45,13.905), (24.73,13.405,25.23,13.905), (24.73,13.405,25.23,13.905), (24.82,13.405,25.23,13.905), (-14.4,14.645,-12.85,15.145), (-13.35,14.645,-12.85,15.145), (42.67,14.645,43.17,15.145), (42.67,14.645,44.77,15.145), (-5.92,18.285,-5.42,18.785), (-5.92,18.285,-5.42,18.785), (-5.92,18.285,-5.51,18.785), (-5.51,18.285,18.45,18.785), (-5.48,18.285,-4.98,18.785), (18.36,18.285,18.86,18.785), (18.36,18.285,18.86,18.785), (18.45,18.285,18.86,18.785), (-4.44,19.075,17.38,22.705), (-3.49,19.195,16.43,19.695), (-4.02,20.235,-3.52,20.735), (-4.02,20.235,-3.52,20.735), (-1.46,20.235,-0.96,20.735), (-1.46,20.235,-0.96,20.735), (1.1,20.235,1.6,20.735), (1.1,20.235,1.6,20.735), (3.66,20.235,4.16,20.735), (3.66,20.235,4.16,20.735), (6.22,20.235,6.72,20.735), (6.22,20.235,6.72,20.735), (8.78,20.235,9.28,20.735), (8.78,20.235,9.28,20.735), (11.34,20.235,11.84,20.735), (11.34,20.235,11.84,20.735), (13.9,20.235,14.4,20.735), (13.9,20.235,14.4,20.735), (16.46,20.235,16.96,20.735), (16.46,20.235,16.96,20.735), (-4.02,21.285,16.96,21.785), (-4.02,22.085,16.96,22.585), (-5.15,22.205,-1.25,31.135), (14.19,22.205,18.09,31.135), (-4.2,23.225,-2.2,23.725), (-3.85,23.225,-3.35,23.725), (-3.05,23.225,-2.55,23.725), (-0.43,23.225,0.07,23.725), (-0.43,23.225,5.75,23.725), (5.25,23.225,5.75,23.725), (7.19,23.225,7.69,23.725), (7.19,23.225,13.37,23.725), (12.87,23.225,13.37,23.725), (15.14,23.225,17.14,23.725), (15.49,23.225,15.99,23.725), (16.29,23.225,16.79,23.725), (-0.43,24.025,0.07,24.525), (-0.43,24.025,5.75,24.525), (5.25,24.025,5.75,24.525), (7.19,24.025,7.69,24.525), (7.19,24.025,13.37,24.525), (12.87,24.025,13.37,24.525), (-4.73,24.265,-4.23,28.265), (-2.17,24.265,-1.67,28.265), (14.61,24.265,15.11,28.265), (17.17,24.265,17.67,28.265), (-0.43,25.075,0.07,29.075), (5.25,25.075,5.75,29.075), (7.19,25.075,7.69,29.075), (12.87,25.075,13.37,29.075), (-4.73,28.815,-4.23,29.315), (-4.73,28.815,-1.67,29.315), (14.61,28.815,15.11,29.315), (14.61,28.815,17.67,29.315), (-4.73,29.615,-1.67,30.115), (-2.17,29.615,-1.67,30.115), (0.1,29.615,5.22,30.115), (2.41,29.615,2.91,30.115), (7.72,29.615,12.84,30.115), (10.03,29.615,10.53,30.115), (14.61,29.615,17.67,30.115), (17.17,29.615,17.67,30.115), (-4.44,30.635,17.38,34.265), (-3.49,30.755,16.43,31.255), (-4.02,31.795,-3.52,32.295), (-4.02,31.795,-3.52,32.295), (-1.46,31.795,-0.96,32.295), (-1.46,31.795,-0.96,32.295), (1.1,31.795,1.6,32.295), (1.1,31.795,1.6,32.295), (3.66,31.795,4.16,32.295), (3.66,31.795,4.16,32.295), (6.22,31.795,6.72,32.295), (6.22,31.795,6.72,32.295), (8.78,31.795,9.28,32.295), (8.78,31.795,9.28,32.295), (11.34,31.795,11.84,32.295), (11.34,31.795,11.84,32.295), (13.9,31.795,14.4,32.295), (13.9,31.795,14.4,32.295), (16.46,31.795,16.96,32.295), (16.46,31.795,16.96,32.295), (-4.02,32.845,16.96,33.345), (-4.02,33.645,16.96,34.145), (-4.44,34.265,17.38,34.555), (-5.92,34.555,-5.42,35.055), (-5.92,34.555,-5.42,35.055), (-5.92,34.555,-5.51,35.055), (-5.51,34.555,18.45,35.055), (18.36,34.555,18.86,35.055), (18.36,34.555,18.86,35.055), (18.45,34.555,18.86,35.055)])
R(dpi, via2, [(3.38,-3.325,3.64,-3.065), (11,-3.325,11.26,-3.065), (0.54,2.265,0.8,2.525), (8.16,2.265,8.42,2.525), (6.22,3.065,6.48,3.325), (13.84,3.065,14.1,3.325), (-3.63,8.005,-3.37,8.265), (18.01,8.955,18.27,9.215), (-2.83,13.525,-2.57,13.785), (-13.23,14.765,-12.97,15.025), (42.79,14.765,43.05,15.025), (-5.36,18.405,-5.1,18.665), (5.37,23.345,5.63,23.605), (12.99,23.345,13.25,23.605), (-0.31,24.145,-0.05,24.405), (7.31,24.145,7.57,24.405), (2.53,29.735,2.79,29.995), (10.15,29.735,10.41,29.995)])
R(dpi, via3, [(-11.83,-15.825,-11.57,-15.565), (11,-15.825,11.26,-15.565), (3.38,-15.025,3.64,-14.765), (26.01,-15.025,26.27,-14.765), (-13.23,14.765,-12.97,15.025), (-3.63,14.765,-3.37,15.025), (0.54,14.765,0.8,15.025), (8.16,14.765,8.42,15.025), (12.99,14.765,13.25,15.025), (42.79,14.765,43.05,15.025), (-11.83,15.565,-11.57,15.825), (5.37,15.565,5.63,15.825), (13.84,15.565,14.1,15.825), (-2.83,16.365,-2.57,16.625), (-5.36,17.165,-5.1,17.425), (-0.31,17.165,-0.05,17.425), (6.22,17.165,6.48,17.425), (7.31,17.165,7.57,17.425), (18.01,17.165,18.27,17.425), (-11.83,35.915,-11.57,36.175), (10.15,35.915,10.41,36.175), (2.53,36.715,2.79,36.975), (28.41,36.715,28.67,36.975)])
A(dpi, via4, 20.7, -8.475, 0.26, 0.26, 26, 26, 0.8, 0.8)
R(dpi, via4, [(43.59,17.165,43.85,17.425)])
R(dpi, metal3, [(-11.95,-15.945,-11.45,-15.445), (-11.95,-15.945,-11.45,36.295), (10.88,-15.945,11.38,-15.445), (10.88,-15.945,11.38,-2.945), (28.29,-15.945,28.79,37.095), (3.26,-15.145,3.76,-14.645), (3.26,-15.145,3.76,-2.945), (25.89,-15.145,26.39,-14.645), (25.89,-15.145,26.39,37.095), (3.26,-3.445,3.76,-2.945), (10.88,-3.445,11.38,-2.945), (0.42,2.145,0.92,2.645), (0.42,2.145,0.92,15.145), (8.04,2.145,8.54,2.645), (8.04,2.145,8.54,15.145), (6.1,2.945,6.6,3.445), (6.1,2.945,6.6,17.545), (13.72,2.945,14.22,3.445), (13.72,2.945,14.22,15.945), (-3.75,7.885,-3.25,8.385), (-3.75,7.885,-3.25,15.145), (17.89,8.835,18.39,9.335), (17.89,8.835,18.39,17.545), (-2.95,13.405,-2.45,13.905), (-2.95,13.405,-2.45,16.745), (-13.35,14.645,-12.85,15.145), (-13.35,14.645,-12.85,15.145), (-3.75,14.645,-3.25,15.145), (0.42,14.645,0.92,15.145), (8.04,14.645,8.54,15.145), (12.87,14.645,13.37,15.145), (12.87,14.645,13.37,23.725), (42.67,14.645,43.17,15.145), (42.67,14.645,43.17,15.145), (-11.95,15.445,-11.45,15.945), (5.25,15.445,5.75,15.945), (5.25,15.445,5.75,23.725), (13.72,15.445,14.22,15.945), (-2.95,16.245,-2.45,16.745), (-5.48,17.045,-4.98,17.545), (-5.48,17.045,-4.98,18.785), (-0.43,17.045,0.07,17.545), (-0.43,17.045,0.07,24.525), (6.1,17.045,6.6,17.545), (7.19,17.045,7.69,17.545), (7.19,17.045,7.69,24.525), (17.89,17.045,18.39,17.545), (-5.48,18.285,-4.98,18.785), (5.25,23.225,5.75,23.725), (12.87,23.225,13.37,23.725), (-0.43,24.025,0.07,24.525), (7.19,24.025,7.69,24.525), (2.41,29.615,2.91,30.115), (2.41,29.615,2.91,37.095), (10.03,29.615,10.53,30.115), (10.03,29.615,10.53,36.295), (-11.95,35.795,-11.45,36.295), (10.03,35.795,10.53,36.295), (2.41,36.595,2.91,37.095), (28.29,36.595,28.79,37.095)])
R(dpi, metal4, [(-11.95,-15.945,-11.45,-15.445), (-11.95,-15.945,11.38,-15.445), (10.88,-15.945,11.38,-15.445), (3.26,-15.145,3.76,-14.645), (3.26,-15.145,26.39,-14.645), (25.89,-15.145,26.39,-14.645), (19.14,-10.035,42.52,13.345), (41.97,1.405,44.77,1.905), (44.27,1.405,44.77,15.945), (-13.35,14.645,-12.85,15.145), (-13.35,14.645,8.54,15.145), (-3.75,14.645,-3.25,15.145), (0.42,14.645,0.92,15.145), (8.04,14.645,8.54,15.145), (12.87,14.645,13.37,15.145), (12.87,14.645,43.17,15.145), (42.67,14.645,43.17,15.145), (-11.95,15.445,-11.45,15.945), (-11.95,15.445,44.77,15.945), (5.25,15.445,5.75,15.945), (13.72,15.445,14.22,15.945), (-2.95,16.245,-2.45,16.745), (-2.95,16.245,-2.45,16.745), (-5.48,17.045,-4.98,17.545), (-5.48,17.045,43.97,17.545), (-0.43,17.045,0.07,17.545), (6.1,17.045,6.6,17.545), (7.19,17.045,7.69,17.545), (17.89,17.045,18.39,17.545), (43.47,17.045,43.97,17.545), (-11.95,35.795,-11.45,36.295), (-11.95,35.795,10.53,36.295), (10.03,35.795,10.53,36.295), (2.41,36.595,2.91,37.095), (2.41,36.595,28.79,37.095), (28.29,36.595,28.79,37.095)])
R(dpi, fusetop, [(19.74,-9.435,41.92,12.745)])
A(dpi, metal5, 20.58, -8.595, 0.5, 0.5, 26, 26, 0.8, 0.8)
R(dpi, metal5, [(20.02,-9.155,41.64,12.465), (30.33,1.155,44.22,2.155), (43.22,1.155,44.22,17.795), (43.47,17.045,43.97,17.545)])
R(dpi, cap_mk, [(19.14,-10.035,42.52,13.345)])
R(dpi, L117_10, [(19.74,-9.435,41.92,-9.335)])
R(dpi, lvpwell, [(-5.18,-8.475,19.82,8.475), (-3.59,-7.595,18.23,-3.965), (-4.3,-3.565,-0.4,3.565), (0,-3.565,7.02,3.565), (7.62,-3.565,14.64,3.565), (15.04,-3.565,18.94,3.565), (-3.59,3.965,18.23,7.595)])
dpi.add(gdstk.Label('Vthr', (3.61,-14.895), layer=46, texttype=10))
dpi.add(gdstk.Label('Isum', (-13,14.895), layer=46, texttype=10))
dpi.add(gdstk.Label('Isyn', (13.22,14.895), layer=46, texttype=10))
dpi.add(gdstk.Label('VT', (2.76,36.845), layer=46, texttype=10))
dpi.add(gdstk.Label('VSS', (7.32,-13.655), layer=36, texttype=10))
dpi.add(gdstk.Label('VDD', (6.47,34.805), layer=36, texttype=10))

lib.write_gds('DPI.gds')
